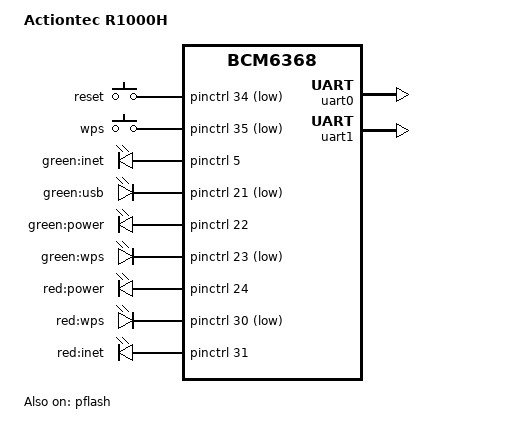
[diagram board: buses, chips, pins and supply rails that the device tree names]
#include "bcm6368.dtsi"

#include <dt-bindings/input/input.h>

/ {
	model = "Actiontec R1000H";
	compatible = "actiontec,r1000h", "brcm,bcm6368";

	aliases {
		led-boot = &led_power_green;
		led-failsafe = &led_power_green;
		led-running = &led_power_green;
		led-upgrade = &led_power_green;
	};

	chosen {
		bootargs = "rootfstype=squashfs noinitrd console=ttyS0,115200";
		stdout-path = "serial0:115200n8";
	};

	keys {
		compatible = "gpio-keys-polled";
		#address-cells = <1>;
		#size-cells = <0>;
		poll-interval = <20>;

		reset {
			label = "reset";
			gpios = <&pinctrl 34 1>;
			linux,code = <KEY_RESTART>;
			debounce-interval = <60>;
		};

		wps {
			label = "wps";
			gpios = <&pinctrl 35 1>;
			linux,code = <KEY_WPS_BUTTON>;
			debounce-interval = <60>;
		};
	};

	leds {
		compatible = "gpio-leds";

		inet_green {
			label = "green:inet";
			gpios = <&pinctrl 5 0>;
		};

		usb_green {
			label = "green:usb";
			gpios = <&pinctrl 21 1>;
		};

		led_power_green: power_green {
			label = "green:power";
			gpios = <&pinctrl 22 0>;
			default-state = "on";
		};

		wps_green {
			label = "green:wps";
			gpios = <&pinctrl 23 1>;
		};

		power_red {
			label = "red:power";
			gpios = <&pinctrl 24 0>;
		};

		wps_red {
			label = "red:wps";
			gpios = <&pinctrl 30 1>;
		};

		inet_red {
			label = "red:inet";
			gpios = <&pinctrl 31 0>;
		};
	};
};

&pflash {
	status = "okay";

	partitions {
		compatible = "fixed-partitions";
		#address-cells = <1>;
		#size-cells = <1>;

		CFE@0 {
			reg = <0x000000 0x020000>;
			read-only;
		};

		linux@20000 {
			reg = <0x020000 0x1fc0000>;
			compatible = "brcm,bcm963xx-imagetag";
		};

		nvram@1fe0000 {
			reg = <0x1fe0000 0x20000>;
		};
	};
};

&uart0 {
	status = "okay";
};

&uart1 {
	status = "okay";
};
